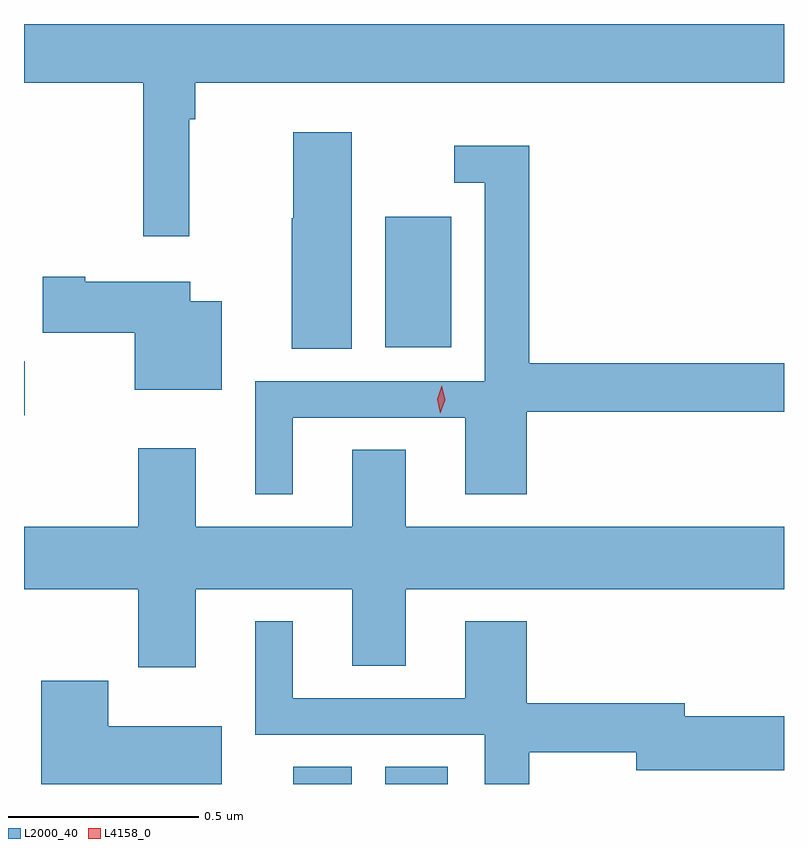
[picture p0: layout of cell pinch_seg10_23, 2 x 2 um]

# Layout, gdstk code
import gdstk
lib = gdstk.Library(unit=1e-6, precision=1e-09)
def R(c, l, rs):  # rectangles x0, y0, x1, y1
    for r in rs: c.add(gdstk.rectangle(r[:2], r[2:], *l))
def P(c, l, *ps):  # polygons
    for p in ps: c.add(gdstk.Polygon(p, *l))
L2000_40 = (2000, 40)
L4158_0 = (4158, 0)

pinch_seg10_23 = lib.new_cell('pinch_seg10_23')
R(pinch_seg10_23, L2000_40, [(947.435,1253.183,947.59,1253.228), (947.678,1253.183,947.842,1253.228), (946.727,1254.154,946.729,1254.296), (947.678,1254.332,947.851,1254.676)])
P(pinch_seg10_23, L2000_40, [(947.162,1254.932),(947.177,1254.932),(947.177,1255.028),(948.727,1255.028),(948.727,1255.183),(946.727,1255.183),(946.727,1255.028),(947.041,1255.028),(947.041,1254.624),(947.162,1254.624)],
  [(947.59,1254.898),(947.435,1254.898),(947.435,1254.672),(947.432,1254.672),(947.432,1254.328),(947.59,1254.328)],
  [(947.434,1254.147),(947.888,1254.147),(947.888,1253.946),(948.05,1253.946),(948.05,1254.162),(948.727,1254.162),(948.727,1254.29),(948.056,1254.29),(948.056,1254.862),(947.859,1254.862),(947.859,1254.765),(947.94,1254.765),(947.94,1254.243),(947.336,1254.243),(947.336,1253.946),(947.434,1253.946)],
  [(947.248,1254.454),(947.164,1254.454),(947.164,1254.505),(946.888,1254.505),(946.888,1254.518),(946.776,1254.518),(946.776,1254.371),(947.018,1254.371),(947.018,1254.221),(947.248,1254.221)],
  [(947.179,1253.696),(947.591,1253.696),(947.591,1253.494),(947.731,1253.494),(947.731,1253.696),(948.727,1253.696),(948.727,1253.86),(947.731,1253.86),(947.731,1254.062),(947.591,1254.062),(947.591,1253.86),(947.179,1253.86),(947.179,1254.067),(947.027,1254.067),(947.027,1253.86),(946.727,1253.86),(946.727,1253.696),(947.027,1253.696),(947.027,1253.49),(947.179,1253.49)],
  [(948.056,1253.266),(948.338,1253.266),(948.338,1253.219),(948.727,1253.219),(948.727,1253.361),(948.466,1253.361),(948.466,1253.395),(948.05,1253.395),(948.05,1253.611),(947.888,1253.611),(947.888,1253.409),(947.434,1253.409),(947.434,1253.611),(947.336,1253.611),(947.336,1253.313),(947.94,1253.313),(947.94,1253.183),(948.056,1253.183)],
  [(947.248,1253.335),(946.949,1253.335),(946.949,1253.455),(946.772,1253.455),(946.772,1253.183),(947.248,1253.183)])
P(pinch_seg10_23, L4158_0, [(947.823,1254.159),(947.823,1254.159),(947.815,1254.195),(947.826,1254.231),(947.826,1254.231),(947.826,1254.231),(947.835,1254.194),(947.823,1254.159)])

lib.write_gds('pinch_seg10_23.gds')
